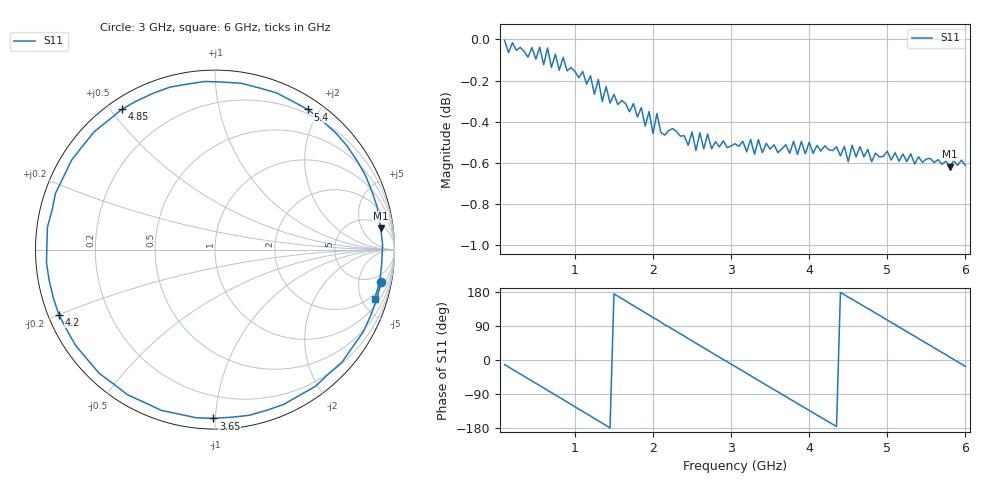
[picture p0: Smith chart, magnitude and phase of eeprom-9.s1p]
! Created with skrf 2.0.0 (http://scikit-rf.org).
# Hz S RI R 50.0
!freq ReS11 ImS11
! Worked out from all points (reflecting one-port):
!   119 points, 100 MHz to 6 GHz, reference 50 ohm
!   lowest |S11| = -0.6 dB at 5.8 GHz (marker M1), VSWR 28.10, Z = 331 + j595 ohm
!   phase of S11 starts at -12 deg and turns -725 deg over the sweep
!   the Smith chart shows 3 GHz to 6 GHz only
!   S11 on the Smith chart (normalised r, x): 3 GHz: 2.93, -9.43; 3.65 GHz: 0.06, -0.99; 4.2 GHz: 0.03, -0.20; 4.85 GHz: 0.04, +0.54; 5.4 GHz: 0.15, +1.85; 6 GHz: 1.53, -6.33
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1e8  0.9764 -0.2134
3e8  0.7955 -0.5986
5.5e8  0.3807 -0.92
8.5e8  -0.2509 -0.9577
1.1e9  -0.7014 -0.6877
1.3e9  -0.9212 -0.328
1.6e9  -0.9197 0.2971
1.75e9  -0.7759 0.5733
1.95e9  -0.4617 0.8422
2.15e9  -0.0472 0.9467
2.35e9  0.34 0.8842
2.7e9  0.8527 0.4152
3e9  0.9246 -0.1807
3.05e9  0.9028 -0.2736
3.35e9  0.5595 -0.7621
3.65e9  -0.00961 -0.9405
3.8e9  -0.2998 -0.8957
4e9  -0.6437 -0.6905
4.2e9  -0.8699 -0.3621
4.35e9  -0.9388 -0.0737
4.55e9  -0.8894 0.3119
4.85e9  -0.517 0.7831
5.1e9  -0.0553 0.9369
5.3e9  0.3429 0.873
5.4e9  0.5169 0.7809
5.6e9  0.7916 0.4947
5.8e9  0.9236 0.1192
6e9  0.8911 -0.2727
